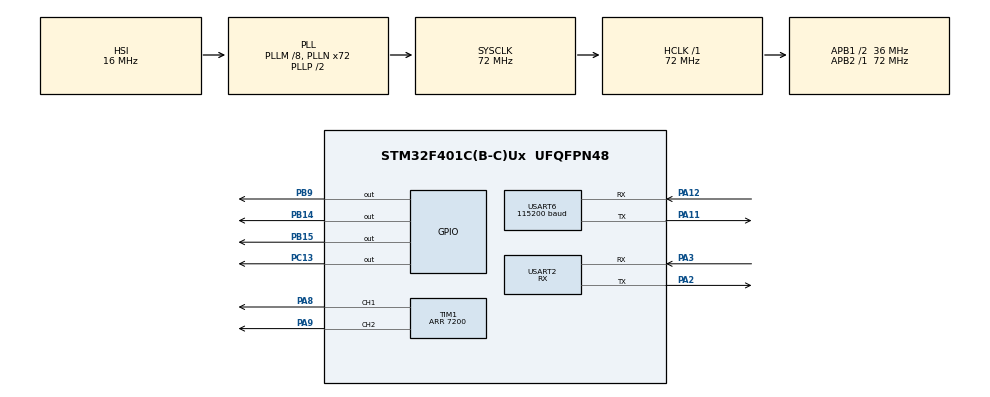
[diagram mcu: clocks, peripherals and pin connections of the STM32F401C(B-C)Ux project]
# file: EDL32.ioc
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Mcu.Family=STM32F4
Mcu.Name=STM32F401C(B-C)Ux
Mcu.Package=UFQFPN48
NVIC.PriorityGroup=NVIC_PRIORITYGROUP_4
NVIC.USART2_IRQn=true\:0\:0\:false\:false\:true\:true\:true\:true
NVIC.USART6_IRQn=true\:0\:0\:false\:false\:true\:true\:true\:true
PA11.Mode=Asynchronous
PA11.Signal=USART6_TX
PA12.Mode=Asynchronous
PA12.Signal=USART6_RX
PA13.Mode=Trace_Asynchronous_SW
PA13.Signal=SYS_JTMS-SWDIO
PA14.Mode=Trace_Asynchronous_SW
PA14.Signal=SYS_JTCK-SWCLK
PA2.Mode=Asynchronous
PA2.Signal=USART2_TX
PA3.Mode=Asynchronous
PA3.Signal=USART2_RX
PA8.Signal=S_TIM1_CH1
PA9.Signal=S_TIM1_CH2
PB14.Signal=GPIO_Output
PB15.Signal=GPIO_Output
PB3.Mode=Trace_Asynchronous_SW
PB3.Signal=SYS_JTDO-SWO
PB9.Signal=GPIO_Output
PC13-ANTI_TAMP.Signal=GPIO_Output
PH0\ -\ OSC_IN.Mode=HSE-External-Oscillator
PH0\ -\ OSC_IN.Signal=RCC_OSC_IN
PH1\ -\ OSC_OUT.Mode=HSE-External-Oscillator
PH1\ -\ OSC_OUT.Signal=RCC_OSC_OUT
ProjectManager.HeapSize=0x200
ProjectManager.StackSize=0x400
ProjectManager.TargetToolchain=STM32CubeIDE
RCC.48MHZClocksFreq_Value=36000000
RCC.AHBFreq_Value=72000000
RCC.APB1CLKDivider=RCC_HCLK_DIV2
RCC.APB1Freq_Value=36000000
RCC.APB1TimFreq_Value=72000000
RCC.APB2Freq_Value=72000000
RCC.APB2TimFreq_Value=72000000
RCC.CortexFreq_Value=72000000
RCC.HCLKFreq_Value=72000000
RCC.HSE_VALUE=25000000
RCC.HSI_VALUE=16000000
RCC.LSE_VALUE=32768
RCC.PLLM=8
RCC.PLLN=72
RCC.SYSCLKFreq_VALUE=72000000
RCC.SYSCLKSource=RCC_SYSCLKSOURCE_PLLCLK
RCC.VCOOutputFreq_Value=144000000
SH.S_TIM1_CH1.0=TIM1_CH1,PWM Generation1 CH1
SH.S_TIM1_CH2.0=TIM1_CH2,PWM Generation2 CH2
TIM1.Channel-PWM\ Generation1\ CH1=TIM_CHANNEL_1
TIM1.Channel-PWM\ Generation2\ CH2=TIM_CHANNEL_2
TIM1.Period=7200
USART2.Mode=MODE_RX
USART2.VirtualMode=VM_ASYNC
USART6.BaudRate=115200
USART6.Mode=MODE_TX_RX
USART6.VirtualMode=VM_ASYNC
VP_TIM1_VS_ClockSourceINT.Mode=Internal
board=custom

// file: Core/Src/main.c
/* USER CODE BEGIN Header */
/**
  ******************************************************************************
  * @file           : main.c
  * @brief          : Main program body
  ******************************************************************************
  * @attention
  *
  * Copyright (c) 2024 STMicroelectronics.
  * All rights reserved.
  *
  * This software is licensed under terms that can be found in the LICENSE file
  * in the root directory of this software component.
  * If no LICENSE file comes with this software, it is provided AS-IS.
  *
  ******************************************************************************
  */
/* USER CODE END Header */
#include "main.h"

/* USER CODE BEGIN Includes */
#include "stdio.h"
#include "FS-iA6B.h"
#include <string.h>
/* USER CODE END Includes */

TIM_HandleTypeDef htim1;

UART_HandleTypeDef huart6;

/* USER CODE BEGIN PV */
extern uint8_t ibus_rx_buf[32];
extern uint8_t ibus_rx_cplt_flag;
uint16_t rxValues[8];

uint16_t LED;
int32_t dutyL, dutyR;
int16_t speed, speedL, speedR, steering, mode;
uint16_t CounterPeriod = 7200;
int16_t direction = 0;
int16_t directionL = 0;
int16_t directionR = 0;

uint16_t smoothing, smoothing1;
uint16_t smoothingPrev= 1500;
uint16_t smoothingPrev1 = 1500;

uint16_t window_size = 10;
uint16_t window_index = 0;
int32_t window[10];
int32_t movingSum = 0;
int32_t past = 0;

int k = 450;

int initial = 0;
/* USER CODE END PV */

void SystemClock_Config(void);
static void MX_GPIO_Init(void);
static void MX_USART2_UART_Init(void);
static void MX_USART6_UART_Init(void);
static void MX_TIM1_Init(void);

int main(void)
{

  /* MCU Configuration--------------------------------------------------------*/

  /* Reset of all peripherals, Initializes the Flash interface and the Systick. */
  HAL_Init();

  /* Configure the system clock */
  SystemClock_Config();

  /* Initialize all configured peripherals */
  MX_GPIO_Init();
  MX_USART2_UART_Init();
  MX_USART6_UART_Init();
  MX_TIM1_Init();
  /* USER CODE BEGIN 2 */
  LL_USART_EnableIT_RXNE(USART2);
  LL_USART_EnableIT_RXNE(USART6);

  HAL_TIM_PWM_Start(&htim1, TIM_CHANNEL_1);   // Output PWM Generation
  HAL_TIM_PWM_Start(&htim1, TIM_CHANNEL_2);   // Output PWM Generation

  /* USER CODE END 2 */

  /* Infinite loop */
  /* USER CODE BEGIN WHILE */

  while (1)
  {
//	  if(initial == 0){
//		  HAL_Delay(3000);
//		  initial = 1;
//	  }

    /* USER CODE END WHILE */

    /* USER CODE BEGIN 3 */

	  if(ibus_rx_cplt_flag == 1)
	  {
		  ibus_rx_cplt_flag = 0;
		  if(iBus_Check_CHKSUM(&ibus_rx_buf[0], 32) == 1)
		  {
		  	  HAL_GPIO_TogglePin(GPIOC, GPIO_PIN_13);
			  	rxValues[0] = (ibus_rx_buf[2] | ibus_rx_buf[3]<<8);
			  	rxValues[1] = (ibus_rx_buf[4] | ibus_rx_buf[5]<<8);
			  	rxValues[2] = (ibus_rx_buf[6] | ibus_rx_buf[7]<<8);
			  	rxValues[3] = (ibus_rx_buf[8] | ibus_rx_buf[9]<<8);
			  	rxValues[4] = (ibus_rx_buf[10] | ibus_rx_buf[11]<<8);
			  	rxValues[5] = (ibus_rx_buf[12] | ibus_rx_buf[13]<<8);
			  	rxValues[6] = (ibus_rx_buf[14] | ibus_rx_buf[15]<<8);
			  	rxValues[7] = (ibus_rx_buf[18] | ibus_rx_buf[19]<<8);

//			  	if(!((1000 <= rxValues[0] && rxValues[0] <= 2000)&&
//			  			(1000 <= rxValues[1] && rxValues[1] <= 2000)&&
//						(1000 <= rxValues[2] && rxValues[2] <= 2000)&&
//						(1000 <= rxValues[3] && rxValues[3] <= 2000)&&
//						(1000 <= rxValues[4] && rxValues[4] <= 2000)&&
//						(1000 <= rxValues[5] && rxValues[5] <= 2000)&&
//						(1000 <= rxValues[6] && rxValues[6] <= 2000)&&
//						(1000 <= rxValues[7] && rxValues[7] <= 2000)))
//			  	{continue;}

			  	if(rxValues[7] < 1500){HAL_UART_Transmit(&huart6, ibus_rx_buf, 32, 100);}

		  }

	  }

	  if(rxValues[6] > 1500){ LED = 1;}
	  else {LED = 0;}
	  HAL_GPIO_WritePin(GPIOB, GPIO_PIN_9, LED);

	  if(rxValues[7] < 1500){continue;}

	  speed = rxValues[2];
	  steering = rxValues[0];

//	  window[window_index] = speed;
//	  for (uint16_t i = 0; i < window_size; i++){
//		  movingSum += window[i];
//	  }
//
//	  movingSum = movingSum/window_size;
//	  window_index = (window_index + 1)%window_size;
//	  speed = movingSum;

	  //smoothing
	  smoothing = speed*0.20 + smoothingPrev*0.80;
	  smoothingPrev = smoothing;
	  speed = smoothing;

	  smoothing1 = steering*0.20 + smoothingPrev1*0.80;
	  smoothingPrev1 = smoothing1;
	  steering = smoothing1;
//
	  speed = speed - 1500;
	  steering = steering - 1500;
	  if (speed > -50 && speed < 50){speed = 0;}
	  if (steering > -50 && steering < 50){steering = 0;}
//
//	  if (steering == 0){
//		  direction = 0;
//		  if(speed < 0){
//			  direction = 1;
//			  speed = speed*-1;
//		  }
//		  speedL = speed;
//		  speedR = speed;
//		  directionR = direction;
//		  directionL = !direction;
//	  }
//	  else if (steering != 0 && speed == 0){
//		  direction = 0;
//		  if(steering < 0){
//			  direction = 1;
//			  steering = steering*-1;
//		  }
//		  speedL = steering;
//		  speedR = steering;
//		  directionR = direction;
//		  directionL = direction;
//
//	  }
//	  else {
//		  direction = 0;
//		  if(speed < 0){
//			  direction = 1;
//			  speed = speed*-1;
//		  }
//
//
//		  if(steering < 0){
//			  speedL = speed - (int16_t)(speed*steering/500);
//			  speedR = speed + (int16_t)(speed*steering/500);
//		  }
//		  else{
//			  speedL = speed + (int16_t)(speed*steering/500);
//			  speedR = speed - (int16_t)(speed*steering/500);
//		  }
//w
//		  directionR = direction;
//		  directionL = !direction;

		  ////////////////////////////////////////////////

		  directionL = 0;
		  directionR = 0;

		  speedL = speed - (int16_t)(k*steering/500);
		  speedR = speed + (int16_t)(k*steering/500);

		  if(speedL < 0){
			  directionL = 1;
			  speedL = speedL*-1;
		  }
		  if(speedR < 0){
			  directionR = 1;
			  speedR = speedR*-1;
		  }

	  dutyL = (uint16_t) ((speedL*CounterPeriod)/(500 + k));
	  dutyR = (uint16_t) ((speedR*CounterPeriod)/(500 + k));
	  TIM1->CCR1 = dutyL;
	  TIM1->CCR2 = dutyR;
	  HAL_GPIO_WritePin(GPIOB, GPIO_PIN_14, directionL);
	  HAL_GPIO_WritePin(GPIOB, GPIO_PIN_15, directionR);

//	  HAL_Delay(10);
  }
  /* USER CODE END 3 */
}

void SystemClock_Config(void)
{
  RCC_OscInitTypeDef RCC_OscInitStruct = {0};
  RCC_ClkInitTypeDef RCC_ClkInitStruct = {0};

  /** Configure the main internal regulator output voltage
  */
  __HAL_RCC_PWR_CLK_ENABLE();
  __HAL_PWR_VOLTAGESCALING_CONFIG(PWR_REGULATOR_VOLTAGE_SCALE2);

  /** Initializes the RCC Oscillators according to the specified parameters
  * in the RCC_OscInitTypeDef structure.
  */
  RCC_OscInitStruct.OscillatorType = RCC_OSCILLATORTYPE_HSI;
  RCC_OscInitStruct.HSIState = RCC_HSI_ON;
  RCC_OscInitStruct.HSICalibrationValue = RCC_HSICALIBRATION_DEFAULT;
  RCC_OscInitStruct.PLL.PLLState = RCC_PLL_ON;
  RCC_OscInitStruct.PLL.PLLSource = RCC_PLLSOURCE_HSI;
  RCC_OscInitStruct.PLL.PLLM = 8;
  RCC_OscInitStruct.PLL.PLLN = 72;
  RCC_OscInitStruct.PLL.PLLP = RCC_PLLP_DIV2;
  RCC_OscInitStruct.PLL.PLLQ = 4;
  if (HAL_RCC_OscConfig(&RCC_OscInitStruct) != HAL_OK)
  {
    Error_Handler();
  }

  /** Initializes the CPU, AHB and APB buses clocks
  */
  RCC_ClkInitStruct.ClockType = RCC_CLOCKTYPE_HCLK|RCC_CLOCKTYPE_SYSCLK
                              |RCC_CLOCKTYPE_PCLK1|RCC_CLOCKTYPE_PCLK2;
  RCC_ClkInitStruct.SYSCLKSource = RCC_SYSCLKSOURCE_PLLCLK;
  RCC_ClkInitStruct.AHBCLKDivider = RCC_SYSCLK_DIV1;
  RCC_ClkInitStruct.APB1CLKDivider = RCC_HCLK_DIV2;
  RCC_ClkInitStruct.APB2CLKDivider = RCC_HCLK_DIV1;

  if (HAL_RCC_ClockConfig(&RCC_ClkInitStruct, FLASH_LATENCY_2) != HAL_OK)
  {
    Error_Handler();
  }
}

static void MX_TIM1_Init(void)
{

  TIM_ClockConfigTypeDef sClockSourceConfig = {0};
  TIM_MasterConfigTypeDef sMasterConfig = {0};
  TIM_OC_InitTypeDef sConfigOC = {0};
  TIM_BreakDeadTimeConfigTypeDef sBreakDeadTimeConfig = {0};

  htim1.Instance = TIM1;
  htim1.Init.Prescaler = 0;
  htim1.Init.CounterMode = TIM_COUNTERMODE_UP;
  htim1.Init.Period = 7200;
  htim1.Init.ClockDivision = TIM_CLOCKDIVISION_DIV1;
  htim1.Init.RepetitionCounter = 0;
  htim1.Init.AutoReloadPreload = TIM_AUTORELOAD_PRELOAD_DISABLE;
  if (HAL_TIM_Base_Init(&htim1) != HAL_OK)
  {
    Error_Handler();
  }
  sClockSourceConfig.ClockSource = TIM_CLOCKSOURCE_INTERNAL;
  if (HAL_TIM_ConfigClockSource(&htim1, &sClockSourceConfig) != HAL_OK)
  {
    Error_Handler();
  }
  if (HAL_TIM_PWM_Init(&htim1) != HAL_OK)
  {
    Error_Handler();
  }
  sMasterConfig.MasterOutputTrigger = TIM_TRGO_RESET;
  sMasterConfig.MasterSlaveMode = TIM_MASTERSLAVEMODE_DISABLE;
  if (HAL_TIMEx_MasterConfigSynchronization(&htim1, &sMasterConfig) != HAL_OK)
  {
    Error_Handler();
  }
  sConfigOC.OCMode = TIM_OCMODE_PWM1;
  sConfigOC.Pulse = 0;
  sConfigOC.OCPolarity = TIM_OCPOLARITY_HIGH;
  sConfigOC.OCNPolarity = TIM_OCNPOLARITY_HIGH;
  sConfigOC.OCFastMode = TIM_OCFAST_DISABLE;
  sConfigOC.OCIdleState = TIM_OCIDLESTATE_RESET;
  sConfigOC.OCNIdleState = TIM_OCNIDLESTATE_RESET;
  if (HAL_TIM_PWM_ConfigChannel(&htim1, &sConfigOC, TIM_CHANNEL_1) != HAL_OK)
  {
    Error_Handler();
  }
  if (HAL_TIM_PWM_ConfigChannel(&htim1, &sConfigOC, TIM_CHANNEL_2) != HAL_OK)
  {
    Error_Handler();
  }
  sBreakDeadTimeConfig.OffStateRunMode = TIM_OSSR_DISABLE;
  sBreakDeadTimeConfig.OffStateIDLEMode = TIM_OSSI_DISABLE;
  sBreakDeadTimeConfig.LockLevel = TIM_LOCKLEVEL_OFF;
  sBreakDeadTimeConfig.DeadTime = 0;
  sBreakDeadTimeConfig.BreakState = TIM_BREAK_DISABLE;
  sBreakDeadTimeConfig.BreakPolarity = TIM_BREAKPOLARITY_HIGH;
  sBreakDeadTimeConfig.AutomaticOutput = TIM_AUTOMATICOUTPUT_DISABLE;
  if (HAL_TIMEx_ConfigBreakDeadTime(&htim1, &sBreakDeadTimeConfig) != HAL_OK)
  {
    Error_Handler();
  }
  /* USER CODE BEGIN TIM1_Init 2 */
  //HAL_TIM_IC_Start_IT(&htim1, TIM_CHANNEL_1); // Primary channel - rising edge
  //HAL_TIM_IC_Start_IT(&htim1, TIM_CHANNEL_2); // Primary channel - rising edge
  /* USER CODE END TIM1_Init 2 */
  HAL_TIM_MspPostInit(&htim1);

}

static void MX_USART2_UART_Init(void)
{

  LL_USART_InitTypeDef USART_InitStruct = {0};

  LL_GPIO_InitTypeDef GPIO_InitStruct = {0};

  /* Peripheral clock enable */
  LL_APB1_GRP1_EnableClock(LL_APB1_GRP1_PERIPH_USART2);

  LL_AHB1_GRP1_EnableClock(LL_AHB1_GRP1_PERIPH_GPIOA);
  /**USART2 GPIO Configuration
  PA2   ------> USART2_TX
  PA3   ------> USART2_RX
  */
  GPIO_InitStruct.Pin = LL_GPIO_PIN_2|LL_GPIO_PIN_3;
  GPIO_InitStruct.Mode = LL_GPIO_MODE_ALTERNATE;
  GPIO_InitStruct.Speed = LL_GPIO_SPEED_FREQ_VERY_HIGH;
  GPIO_InitStruct.OutputType = LL_GPIO_OUTPUT_PUSHPULL;
  GPIO_InitStruct.Pull = LL_GPIO_PULL_NO;
  GPIO_InitStruct.Alternate = LL_GPIO_AF_7;
  LL_GPIO_Init(GPIOA, &GPIO_InitStruct);

  /* USART2 interrupt Init */
  NVIC_SetPriority(USART2_IRQn, NVIC_EncodePriority(NVIC_GetPriorityGrouping(),0, 0));
  NVIC_EnableIRQ(USART2_IRQn);

  USART_InitStruct.BaudRate = 115200;
  USART_InitStruct.DataWidth = LL_USART_DATAWIDTH_8B;
  USART_InitStruct.StopBits = LL_USART_STOPBITS_1;
  USART_InitStruct.Parity = LL_USART_PARITY_NONE;
  USART_InitStruct.TransferDirection = LL_USART_DIRECTION_RX;
  USART_InitStruct.HardwareFlowControl = LL_USART_HWCONTROL_NONE;
  USART_InitStruct.OverSampling = LL_USART_OVERSAMPLING_16;
  LL_USART_Init(USART2, &USART_InitStruct);
  LL_USART_ConfigAsyncMode(USART2);
  LL_USART_Enable(USART2);

}

static void MX_USART6_UART_Init(void)
{

  huart6.Instance = USART6;
  huart6.Init.BaudRate = 115200;
  huart6.Init.WordLength = UART_WORDLENGTH_8B;
  huart6.Init.StopBits = UART_STOPBITS_1;
  huart6.Init.Parity = UART_PARITY_NONE;
  huart6.Init.Mode = UART_MODE_TX_RX;
  huart6.Init.HwFlowCtl = UART_HWCONTROL_NONE;
  huart6.Init.OverSampling = UART_OVERSAMPLING_16;
  if (HAL_UART_Init(&huart6) != HAL_OK)
  {
    Error_Handler();
  }

}

static void MX_GPIO_Init(void)
{
  GPIO_InitTypeDef GPIO_InitStruct = {0};

  /* GPIO Ports Clock Enable */
  __HAL_RCC_GPIOC_CLK_ENABLE();
  __HAL_RCC_GPIOH_CLK_ENABLE();
  __HAL_RCC_GPIOA_CLK_ENABLE();
  __HAL_RCC_GPIOB_CLK_ENABLE();

  /*Configure GPIO pin Output Level */
  HAL_GPIO_WritePin(GPIOC, GPIO_PIN_13, GPIO_PIN_RESET);

  /*Configure GPIO pin Output Level */
  HAL_GPIO_WritePin(GPIOB, GPIO_PIN_14|GPIO_PIN_15|GPIO_PIN_9, GPIO_PIN_RESET);

  /*Configure GPIO pin : PC13 */
  GPIO_InitStruct.Pin = GPIO_PIN_13;
  GPIO_InitStruct.Mode = GPIO_MODE_OUTPUT_PP;
  GPIO_InitStruct.Pull = GPIO_NOPULL;
  GPIO_InitStruct.Speed = GPIO_SPEED_FREQ_LOW;
  HAL_GPIO_Init(GPIOC, &GPIO_InitStruct);

  /*Configure GPIO pins : PB14 PB15 PB9 */
  GPIO_InitStruct.Pin = GPIO_PIN_14|GPIO_PIN_15|GPIO_PIN_9;
  GPIO_InitStruct.Mode = GPIO_MODE_OUTPUT_PP;
  GPIO_InitStruct.Pull = GPIO_NOPULL;
  GPIO_InitStruct.Speed = GPIO_SPEED_FREQ_LOW;
  HAL_GPIO_Init(GPIOB, &GPIO_InitStruct);

}

/* USER CODE BEGIN 4 */
uint8_t bytesTransd = 0;
uint8_t txcount = 0;
uint8_t startPosition = 0;

/* USER CODE END 4 */

void Error_Handler(void)
{
  __disable_irq();
  while (1)
  {
  }
}
